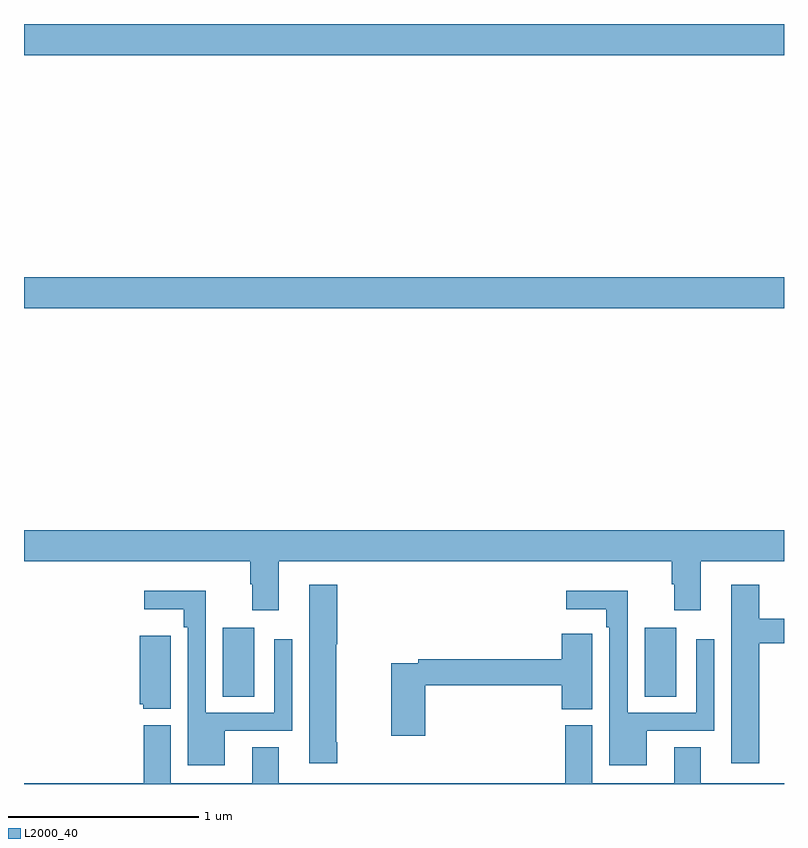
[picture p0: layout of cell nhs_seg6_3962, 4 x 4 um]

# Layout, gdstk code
import gdstk
lib = gdstk.Library(unit=1e-6, precision=1e-09)
def R(c, l, rs):  # rectangles x0, y0, x1, y1
    for r in rs: c.add(gdstk.rectangle(r[:2], r[2:], *l))
def P(c, l, *ps):  # polygons
    for p in ps: c.add(gdstk.Polygon(p, *l))
L2000_40 = (2000, 40)

nhs_seg6_3962 = lib.new_cell('nhs_seg6_3962')
R(nhs_seg6_3962, L2000_40, [(346.046,943.96,346.213,944.323), (348.266,943.96,348.433,944.323), (345,946.004,349,946.168), (345,947.336,349,947.5)])
P(nhs_seg6_3962, L2000_40, [(346.342,944.672),(348.41,944.672),(348.41,944.552),(348.422,944.552),(348.422,944.415),(348.562,944.415),(348.562,944.672),(349,944.672),(349,944.836),(345,944.836),(345,944.672),(346.19,944.672),(346.19,944.552),(346.202,944.552),(346.202,944.415),(346.342,944.415)],
  [(346.649,943.72),(346.644,943.72),(346.644,944.235),(346.649,944.235),(346.649,944.548),(346.502,944.548),(346.502,943.608),(346.649,943.608)],
  [(348.869,944.242),(349,944.242),(349,944.371),(348.869,944.371),(348.869,944.548),(348.722,944.548),(348.722,943.608),(348.869,943.608)],
  [(346.057,943.779),(346.413,943.779),(346.413,944.263),(346.317,944.263),(346.317,943.875),(345.957,943.875),(345.957,944.518),(345.633,944.518),(345.633,944.42),(345.841,944.42),(345.841,944.324),(345.861,944.324),(345.861,943.598),(346.057,943.598)],
  [(348.277,943.779),(348.633,943.779),(348.633,944.263),(348.537,944.263),(348.537,943.875),(348.177,943.875),(348.177,944.518),(347.853,944.518),(347.853,944.42),(348.065,944.42),(348.065,944.324),(348.081,944.324),(348.081,943.598),(348.277,943.598)],
  [(347.111,944.02),(347.831,944.02),(347.831,943.894),(347.992,943.894),(347.992,944.177),(347.991,944.177),(347.991,944.29),(347.831,944.29),(347.831,944.156),(347.074,944.156),(347.074,944.136),(346.933,944.136),(346.933,943.755),(347.111,943.755)],
  [(345.772,944.281),(345.608,944.281),(345.608,943.92),(345.627,943.92),(345.627,943.895),(345.772,943.895)],
  [(349,943.504),(348.562,943.504),(348.562,943.694),(348.422,943.694),(348.422,943.504),(347.992,943.504),(347.992,943.809),(347.849,943.809),(347.849,943.504),(346.342,943.504),(346.342,943.694),(346.202,943.694),(346.202,943.504),(345.772,943.504),(345.772,943.81),(345.629,943.81),(345.629,943.504),(345,943.504),(345,943.5),(349,943.5)])

lib.write_gds('nhs_seg6_3962.gds')
